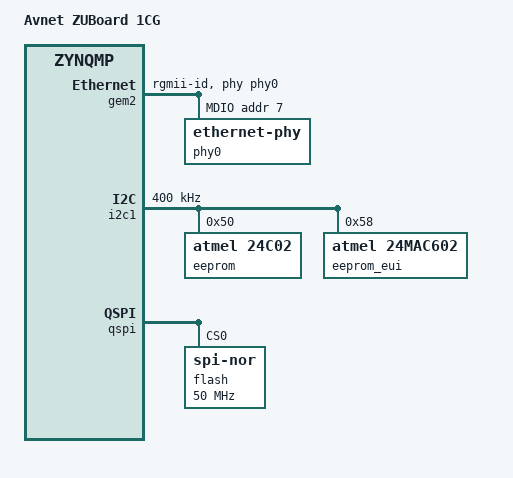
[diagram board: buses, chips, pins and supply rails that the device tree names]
// SPDX-License-Identifier: MIT
/*
 * Avnet ZUBoard 1CG (AES-ZUB-1CG-DK-G), PCB rev 1 - board-level device tree.
 *
 * Fed to SDTGen with -user_dts (sw/scripts/gen-sdt.sh), which copies it into
 * platform/sdt and includes it from system-top.dts after the PS configuration
 * (pcw.dtsi), so it only adds what the XSA cannot know: parts on the board.
 * Lopper then carries it into the Linux/U-Boot system.dtb inside BOOT.BIN.
 *
 * Sources: ZUBoard 1CG HW User Guide v1.0; schematic SCH-ZUB-1CG rev 1
 * (sheet 5 "QSPI, uSD, and Voltage Translation", sheet 7 "Gigabit Ethernet PHY").
 *
 * Console: UART0 on MIO10/11 -> FT2232H on J16 (ttyPS0, 115200). SDTGen sets
 * serial0/stdout-path from the PS configuration, so nothing is needed here.
 */

#include "include/dt-bindings/gpio/gpio.h"

/ {
	model = "Avnet ZUBoard 1CG";
	compatible = "avnet,zub1cg", "xlnx,zynqmp";
};

/*
 * Ethernet: GEM2 (RGMII on MIO52-63, MDC/MDIO on MIO76/77) to a Microchip
 * KSZ9131RNX (U32).
 * PHY address straps: PHYAD2 (RX_CLK, R218), PHYAD1 (LED2, R94) and PHYAD0
 * (LED1, R247) are pulled up, pull-downs DNP -> address 7 (sheet 7 note "(00)111").
 * Delays: GEM adds none; the KSZ9131 driver applies internal RX/TX delays for
 * "rgmii-id" (CONFIG_MICREL_PHY / CONFIG_PHY_MICREL_KSZ90X1).
 */
&gem2 {
	phy-mode = "rgmii-id";
	phy-handle = <&phy0>;

	mdio {
		#address-cells = <1>;
		#size-cells = <0>;

		/*
		 * ETH_RST_N = MIO12 AND POWER_GOOD (U15), with a pull-up (R316) on the
		 * MIO12 side, so the PHY is out of reset even before Linux runs.
		 * Linux pulses it once when the MDIO bus registers.
		 */
		reset-gpios = <&gpio 12 GPIO_ACTIVE_LOW>;
		reset-delay-us = <10000>;
		reset-post-delay-us = <5000>;

		phy0: ethernet-phy@7 {
			reg = <7>;
		};
	};
};

/*
 * I2C1 (MIO8/9): AT24MAC602 (U7). A2..A0 straps: pull-downs R43/R44/R48/R52
 * fitted, pull-ups DNP -> EEPROM at 0x50, EUI page at 0x58 (sheet 7 note).
 * The AT24MAC602 carries an EUI-64, not an EUI-48, so turning it into the
 * GEM2 MAC address needs a policy; see sw/meta-zub1cg/README.md.
 */
&i2c1 {
	clock-frequency = <400000>;

	eeprom@50 {
		compatible = "atmel,24c02";
		reg = <0x50>;
		pagesize = <16>;
	};

	eeprom_eui: eeprom@58 {
		compatible = "atmel,24mac602";
		reg = <0x58>;
		read-only;
	};
};

/*
 * microSD on SD1 (MIO45-51) through a PI4ULS3V4857 translator (U20).
 * Its SEL pin is tied low (R113 fitted, pull-up R112 DNP) and nothing drives
 * it, so the card side stays at 3.3 V and UHS 1.8 V signalling cannot work.
 * Card detect uses the controller's own CD input (MIO45). There is no WP.
 */
&sdhci1 {
	no-1-8-v;
	disable-wp;
};

/* QSPI (MIO0-5): ISSI IS25WP256E (U10), 32 MB, quad I/O. */
&qspi {
	flash@0 {
		compatible = "jedec,spi-nor";
		reg = <0>;
		#address-cells = <1>;
		#size-cells = <1>;
		spi-tx-bus-width = <4>;
		spi-rx-bus-width = <4>;
		spi-max-frequency = <50000000>;
	};
};

/*
 * Not described yet (see sw/meta-zub1cg/README.md): USB1 via USB3320 ULPI PHY
 * and USB5744 hub, power button (MIO26) and power kill (MIO34) handling,
 * user LEDs and switches on MIO.
 */
